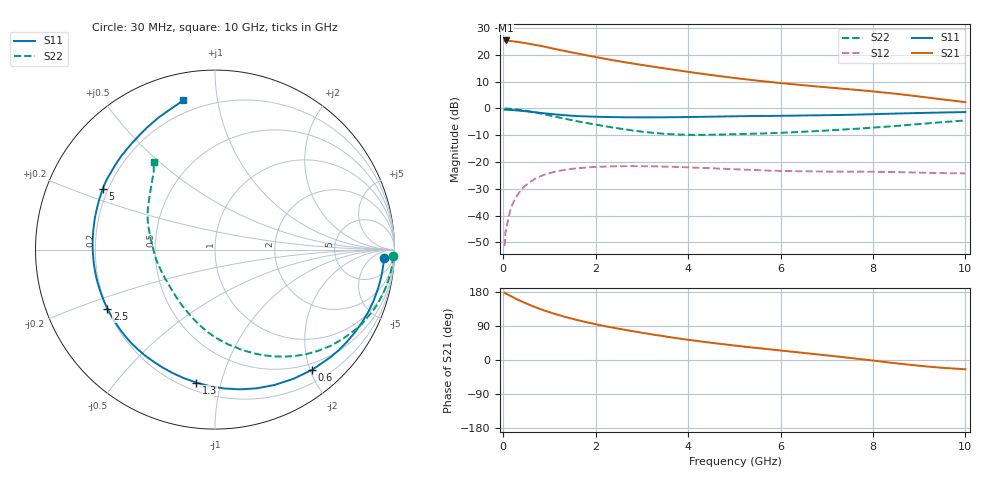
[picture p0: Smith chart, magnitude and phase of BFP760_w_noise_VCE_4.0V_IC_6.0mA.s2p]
! Infineon Technologies  Discrete & RF Semiconductors
! BFP760
! VCE =  4.0 V,  IC =  6.0 mA
! Common Emitter S-Parameters:  Nov 2012
# GHz  S  MA  R  50
!  f  S11  S21  S12  S22
! GHz  MAG  ANG  MAG  ANG  MAG  ANG  MAG  ANG
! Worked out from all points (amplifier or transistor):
!   99 points, 30 MHz to 10 GHz, reference 50 ohm
!   highest |S21| = 25.3 dB at 50 MHz (marker M1)
!   |S21| within 3 dB of that: start of sweep to 1.076 GHz
!   unconditionally stable (mu >= 1): 5.978 GHz to end of sweep
!   at 350 MHz: K = 0.11, MSG = 27.9 dB, |S12| = -31.2 dB
!   at 3.5 GHz: K = 0.53, MSG = 18.3 dB, |S12| = -21.7 dB
!   at 10 GHz: K = 1.26, MAG = 10.2 dB, |S12| = -24.2 dB
!   lowest NFmin = 0.43 dB at 900 MHz
!   S11 on the Smith chart (normalised r, x): 30 MHz: 20, -17; 600 MHz: 0.39, -2.04; 1.3 GHz: 0.25, -0.84; 2.5 GHz: 0.20, -0.25; 5 GHz: 0.18, +0.25; 10 GHz: 0.13, +0.80
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0.03  0.943 -2.8  18.13 177.6  0.0027 74.5  0.9928 -2.1
0.05  0.9426 -4.5  18.41 175.9  0.0052 86.1  0.9918 -3.1
0.15  0.9337 -13.5  18 169.5  0.0124 79.5  0.9823 -9.4
0.3  0.9136 -26.6  17.35 160.1  0.0239 73.1  0.955 -18.4
0.4  0.8967 -35.1  16.88 154.4  0.0309 68.3  0.9286 -24.1
0.6  0.8612 -51.0  15.73 144.0  0.0435 59.4  0.8693 -34.8
0.8  0.8238 -66.3  14.68 134.5  0.054 51.6  0.8051 -44.5
0.9  0.8076 -73.1  14.06 130.2  0.0583 47.9  0.7717 -49.1
1.1  0.7756 -86.1  12.9 122.3  0.0653 41.3  0.7073 -57.5
1.3  0.748 -98.0  11.86 115.1  0.0707 35.6  0.6493 -65.1
1.5  0.7271 -108.9  10.93 108.6  0.0748 30.8  0.5985 -72.0
1.7  0.7116 -119.1  10.13 102.6  0.0776 26.6  0.5534 -78.5
2.1  0.6944 -136.4  8.702 91.8  0.0817 19.1  0.4807 -91.3
2.5  0.6843 -151.1  7.563 82.5  0.0834 12.9  0.423 -103.0
3  0.6793 -167.2  6.444 71.8  0.0836 6.8  0.368 -117.9
3.4  0.6806 -178.3  5.704 64.1  0.0825 2.8  0.3405 -129.7
4.2  0.6931 163.9  4.532 50.2  0.0784 -3.3  0.3204 -151.9
5  0.711 151.6  3.684 38.3  0.0734 -6.6  0.3295 -168.1
5.1  0.7131 150.3  3.599 36.9  0.0727 -6.8  0.3315 -169.8
6.7  0.7395 134.1  2.597 16.2  0.0668 -6.9  0.3738 166.7
8.5  0.7995 113.3  1.868 -8.7  0.0649 -7.8  0.4691 141.1
10  0.8522 101.9  1.306 -24.4  0.0614 -5.4  0.5959 125.0
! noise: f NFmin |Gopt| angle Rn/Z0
0.9  0.43  0.36  26  0.11
1.8  0.51  0.31  54  0.1
2.4  0.6  0.27  76  0.09
3.5  0.77  0.22  111  0.08
5.5  0.98  0.33  -152  0.08
8  1.52  0.45  -100  0.25
